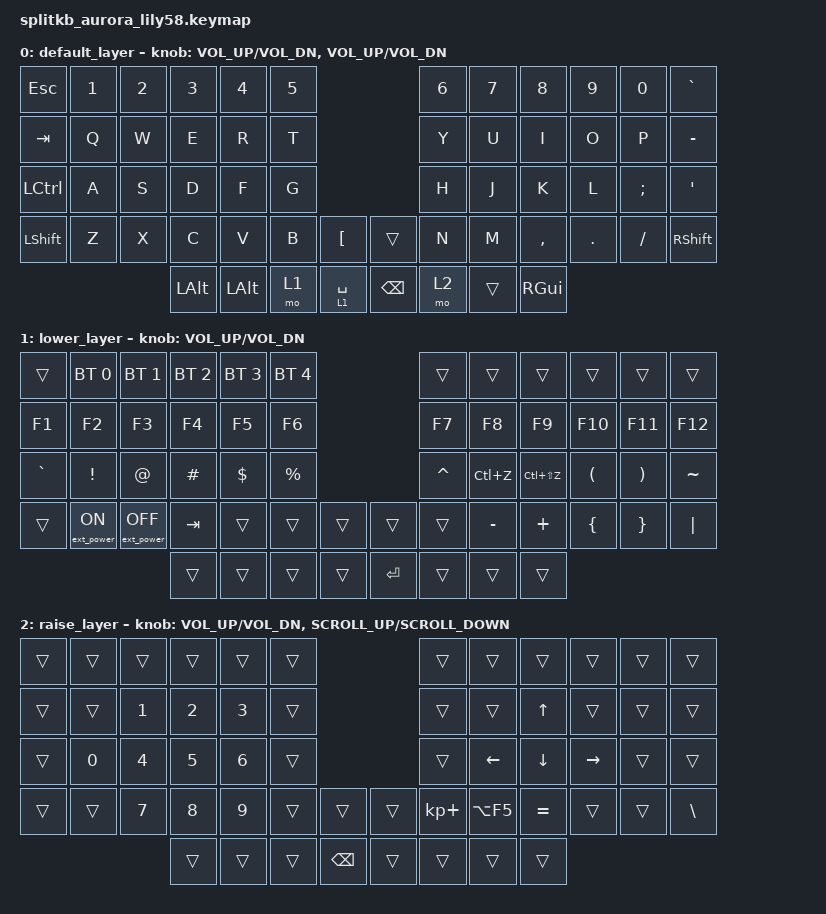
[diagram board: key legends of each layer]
/*
 * Copyright (c) 2022 The ZMK Contributors
 *
 * SPDX-License-Identifier: MIT
 */

#include <behaviors.dtsi>
#include <dt-bindings/zmk/bt.h>
#include <dt-bindings/zmk/ext_power.h>
#include <dt-bindings/zmk/keys.h>

/ {
    behaviors {
        lh_pht: lh_pht {
            compatible = "zmk,behavior-hold-tap";
            label = "LH_PHT";
            bindings = <&kp>, <&kp>;

            #binding-cells = <2>;
            flavor = "tap-unless-interrupted";
            tapping-term-ms = <100>;
            quick-tap-ms = <200>;
            hold-trigger-key-positions = <0 1 2 3 4 5 6 7 8 9 10 11 12 13 14 15 16 17 18 19 20 21 22 23 24 25 26 27 28 29 30 31 32 33 34 35 36 37 38 39 40 41 42 43 44 45 46 47 48 49 50 51 52 53 54 55 56 57>;
        };
    };

    keymap {
        compatible = "zmk,keymap";

        default_layer {
            // ------------------------------------------------------------------------------------------------------------
            // |  ESC  |  1  |  2  |  3   |  4   |  5   |                   |  6   |  7    |  8    |  9   |   0   |   `   |
            // |  TAB  |  Q  |  W  |  E   |  R   |  T   |                   |  Y   |  U    |  I    |  O   |   P   |   -   |
            // |  CTRL |  A  |  S  |  D   |  F   |  G   |                   |  H   |  J    |  K    |  L   |   ;   |   '   |
            // | SHIFT |  Z  |  X  |  C   |  V   |  B   |   "["  |  |  "]"  |  N   |  M    |  ,    |  .   |   /   | SHIFT |
            //                     | ALT  | GUI  | LOWER|  SPACE |  | ENTER | RAISE| BSPC  | GUI   |

            bindings = <
&kp ESC    &kp N1  &kp N2  &kp NUMBER_3  &kp N4        &kp N5                                &kp N6  &kp N7  &kp N8     &kp N9   &kp N0    &kp GRAVE
&kp TAB    &kp Q   &kp W   &kp E         &kp R         &kp T                                 &kp Y   &kp U   &kp I      &kp O    &kp P     &kp MINUS
&kp LCTRL  &kp A   &kp S   &kp D         &kp F         &kp G                                 &kp H   &kp J   &kp K      &kp L    &kp SEMI  &kp SQT
&kp LSHFT  &kp Z   &kp X   &kp C         &kp V         &kp B   &kp LBKT       &trans         &kp N   &kp M   &kp COMMA  &kp DOT  &kp FSLH  &kp RSHFT
                           &kp LALT      &kp LEFT_ALT  &mo 1   &lt 1 SPACE    &kp BACKSPACE  &mo 2   &trans  &kp RGUI
            >;

            sensor-bindings =
                <&inc_dec_kp C_VOL_UP C_VOL_DN>,
                <&inc_dec_kp C_VOL_UP C_VOL_DN>;
        };

        lower_layer {
            // ------------------------------------------------------------------------------------------------------------
            // | BTCLR | BT1 | BT2 |  BT3 |  BT4 |  BT5 |                   |      |       |       |      |       |       |
            // |  F1   |  F2 |  F3 |  F4  |  F5  |  F6  |                   |  F7  |  F8   |  F9   |  F10 |  F11  |  F12  |
            // |   `   |  !  |  @  |  #   |  $   |  %   |                   |  ^   |  &    |  *    |  (   |   )   |   ~   |
            // |       |     |     |      |      |      |        |  |       |      |  _    |  +    |  {   |   }   |  "|"  |
            //                     |      |      |      |        |  |       |      |       |       |

            bindings = <
&trans     &bt BT_SEL 0      &bt BT_SEL 1       &bt BT_SEL 2  &bt BT_SEL 3  &bt BT_SEL 4                       &trans     &trans     &trans         &trans    &trans    &trans
&kp F1     &kp F2            &kp F3             &kp F4        &kp F5        &kp F6                             &kp F7     &kp F8     &kp F9         &kp F10   &kp F11   &kp F12
&kp GRAVE  &kp EXCL          &kp AT             &kp HASH      &kp DOLLAR    &kp PRCNT                          &kp CARET  &kp LC(Z)  &kp LC(LS(Z))  &kp LPAR  &kp RPAR  &kp TILDE
&trans     &ext_power EP_ON  &ext_power EP_OFF  &kp TAB       &trans        &trans        &trans    &trans     &trans     &kp MINUS  &kp PLUS       &kp LBRC  &kp RBRC  &kp PIPE
                                                &trans        &trans        &trans        &trans    &kp ENTER  &trans     &trans     &trans
            >;

            sensor-bindings = <&inc_dec_kp C_VOL_UP C_VOL_DN>;
        };

        raise_layer {
            // ------------------------------------------------------------------------------------------------------------
            // |       |     |     |      |      |      |                   |      |       |       |      |       |       |
            // |   `   |  1  |  2  |  3   |  4   |  5   |                   |  6   |   7   |   8   |  9   |   0   |       |
            // |   F1  |  F2 |  F3 |  F4  |  F5  |  F6  |                   |      |   <-  |   v   |  ^   |  ->   |       |
            // |   F7  |  F8 |  F9 |  F10 |  F11 |  F12 |        |  |       |  +   |   -   |   =   |  [   |   ]   |   \   |
            //                     |      |      |      |        |  |       |      |       |       |

            bindings = <
&trans  &trans  &trans        &trans        &trans        &trans                           &trans       &trans      &trans        &trans     &trans  &trans
&trans  &trans  &kp NUMBER_1  &kp NUMBER_2  &kp NUMBER_3  &trans                           &trans       &trans      &kp UP_ARROW  &trans     &trans  &trans
&trans  &kp N0  &kp NUMBER_4  &kp N5        &kp NUMBER_6  &trans                           &trans       &kp LEFT    &kp DOWN      &kp RIGHT  &trans  &trans
&trans  &trans  &kp N7        &kp N8        &kp N9        &trans  &trans           &trans  &kp KP_PLUS  &kp LA(F5)  &kp EQUAL     &trans     &trans  &kp BSLH
                              &trans        &trans        &trans  &kp BACKSPACE    &trans  &trans       &trans      &trans
            >;

            sensor-bindings =
                <&inc_dec_kp C_VOL_UP C_VOL_DN>,
                <&inc_dec_kp K_SCROLL_UP K_SCROLL_DOWN>;
        };
    };
};
